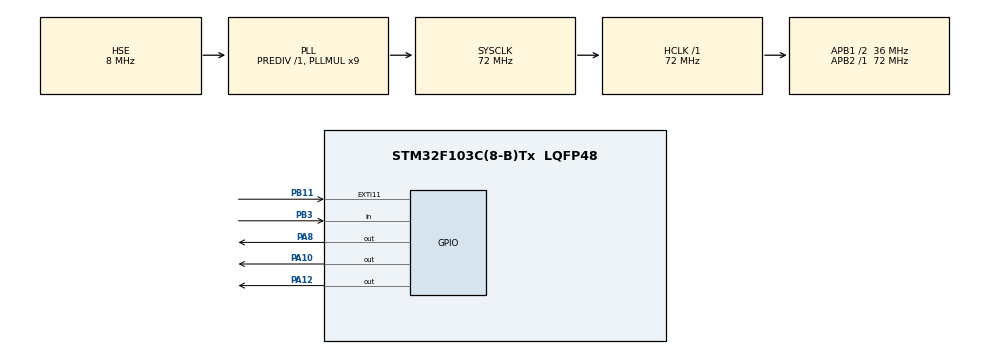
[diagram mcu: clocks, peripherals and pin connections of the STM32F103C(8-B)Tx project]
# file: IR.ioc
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Mcu.Family=STM32F1
Mcu.Name=STM32F103C(8-B)Tx
Mcu.Package=LQFP48
NVIC.EXTI15_10_IRQn=true\:0\:0\:false\:false\:true\:true\:true\:true
NVIC.PriorityGroup=NVIC_PRIORITYGROUP_4
PA10.Signal=GPIO_Output
PA12.Signal=GPIO_Output
PA13.Mode=Serial_Wire
PA13.Signal=SYS_JTMS-SWDIO
PA14.Mode=Serial_Wire
PA14.Signal=SYS_JTCK-SWCLK
PA8.Signal=GPIO_Output
PB11.GPIO_ModeDefaultEXTI=GPIO_MODE_IT_FALLING
PB11.Signal=GPXTI11
PB3.GPIO_PuPd=GPIO_PULLUP
PB3.Signal=GPIO_Input
PD0-OSC_IN.Mode=HSE-External-Oscillator
PD0-OSC_IN.Signal=RCC_OSC_IN
PD1-OSC_OUT.Mode=HSE-External-Oscillator
PD1-OSC_OUT.Signal=RCC_OSC_OUT
ProjectManager.HeapSize=0x200
ProjectManager.StackSize=0x400
ProjectManager.TargetToolchain=STM32CubeIDE
RCC.AHBFreq_Value=72000000
RCC.APB1CLKDivider=RCC_HCLK_DIV2
RCC.APB1Freq_Value=36000000
RCC.APB1TimFreq_Value=72000000
RCC.APB2Freq_Value=72000000
RCC.APB2TimFreq_Value=72000000
RCC.HCLKFreq_Value=72000000
RCC.PLLMUL=RCC_PLL_MUL9
RCC.PLLSourceVirtual=RCC_PLLSOURCE_HSE
RCC.SYSCLKFreq_VALUE=72000000
RCC.SYSCLKSource=RCC_SYSCLKSOURCE_PLLCLK
RCC.USBFreq_Value=72000000
TIM1.Prescaler=71
VP_TIM1_VS_ClockSourceINT.Mode=Internal
board=custom

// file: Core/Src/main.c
/* USER CODE BEGIN Header */
/**
  ******************************************************************************
  * @file           : main.c
  * @brief          : Main program body
  ******************************************************************************
  * @attention
  *
  * Copyright (c) 2023 STMicroelectronics.
  * All rights reserved.
  *
  * This software is licensed under terms that can be found in the LICENSE file
  * in the root directory of this software component.
  * If no LICENSE file comes with this software, it is provided AS-IS.
  *
  ******************************************************************************
  */
/* USER CODE END Header */
#include "main.h"
#include "tim.h"
#include "gpio.h"

/* USER CODE BEGIN PD */

#define LedOnePin			GPIO_PIN_8
#define LedTwoPin			GPIO_PIN_10
#define LedThreePin			GPIO_PIN_12

/* USER CODE END PD */

/* USER CODE BEGIN PV */

uint32_t tempCode;
uint8_t bitIndex;
uint8_t cmd;
uint8_t cmdli;
uint8_t code;

uint8_t LedOneCMD = 0x9d;
uint8_t LedTwoCMD = 0xfd;
uint8_t LedThreeCMD = 0x57;

uint8_t buttonPressed = 0;
uint8_t LedsCounter = 3;
uint8_t state = 1;

void UpdateLeds();
void ReProgrammingFunction();

/* USER CODE END PV */

void SystemClock_Config(void);

/* USER CODE BEGIN 0 */

void HAL_GPIO_EXTI_Callback(uint16_t GPIO_Pin)
{
  if(GPIO_Pin == GPIO_PIN_11)
  {
    if (__HAL_TIM_GET_COUNTER(&htim1) > 8000)
    {
      tempCode = 0;
      bitIndex = 0;
    }
    else if (__HAL_TIM_GET_COUNTER(&htim1) > 1700)
    {
      tempCode |= (1UL << (31-bitIndex));   // write 1
      bitIndex++;
    }
    else if (__HAL_TIM_GET_COUNTER(&htim1) > 1000)
    {
      tempCode &= ~(1UL << (31-bitIndex));  // write 0
      bitIndex++;
    }
    if(bitIndex == 32)
    {
      cmdli = ~tempCode; // Logical inverted last 8 bits
      cmd = tempCode >> 8; // Second last 8 bits
      if(cmdli == cmd) // Check for errors
      {
        code = tempCode; // If no bit errors

        if(buttonPressed)
        	ReProgrammingFunction();
        else
        	UpdateLeds();

        char snum[10];
        itoa(code, snum, 10);
      }
      bitIndex = 0;
    }
    __HAL_TIM_SET_COUNTER(&htim1, 0);
  }
}

/* USER CODE END 0 */

int main(void)
{

  /* MCU Configuration--------------------------------------------------------*/

  /* Reset of all peripherals, Initializes the Flash interface and the Systick. */
  HAL_Init();

  /* Configure the system clock */
  SystemClock_Config();

  /* Initialize all configured peripherals */
  MX_GPIO_Init();
  MX_TIM1_Init();
  /* USER CODE BEGIN 2 */

	HAL_TIM_Base_Start(&htim1);
	__HAL_TIM_SET_COUNTER(&htim1, 0);

  /* USER CODE END 2 */

  /* Infinite loop */
  while (1)
  {

    /* USER CODE BEGIN 3 */
	  state = HAL_GPIO_ReadPin(GPIOB, GPIO_PIN_3);
	  if(!state)
	  {
		  buttonPressed = 1;
	  }
  }
  /* USER CODE END 3 */
}

void SystemClock_Config(void)
{
  RCC_OscInitTypeDef RCC_OscInitStruct = {0};
  RCC_ClkInitTypeDef RCC_ClkInitStruct = {0};

  /** Initializes the RCC Oscillators according to the specified parameters
  * in the RCC_OscInitTypeDef structure.
  */
  RCC_OscInitStruct.OscillatorType = RCC_OSCILLATORTYPE_HSE;
  RCC_OscInitStruct.HSEState = RCC_HSE_ON;
  RCC_OscInitStruct.HSEPredivValue = RCC_HSE_PREDIV_DIV1;
  RCC_OscInitStruct.HSIState = RCC_HSI_ON;
  RCC_OscInitStruct.PLL.PLLState = RCC_PLL_ON;
  RCC_OscInitStruct.PLL.PLLSource = RCC_PLLSOURCE_HSE;
  RCC_OscInitStruct.PLL.PLLMUL = RCC_PLL_MUL9;
  if (HAL_RCC_OscConfig(&RCC_OscInitStruct) != HAL_OK)
  {
    Error_Handler();
  }

  /** Initializes the CPU, AHB and APB buses clocks
  */
  RCC_ClkInitStruct.ClockType = RCC_CLOCKTYPE_HCLK|RCC_CLOCKTYPE_SYSCLK
                              |RCC_CLOCKTYPE_PCLK1|RCC_CLOCKTYPE_PCLK2;
  RCC_ClkInitStruct.SYSCLKSource = RCC_SYSCLKSOURCE_PLLCLK;
  RCC_ClkInitStruct.AHBCLKDivider = RCC_SYSCLK_DIV1;
  RCC_ClkInitStruct.APB1CLKDivider = RCC_HCLK_DIV2;
  RCC_ClkInitStruct.APB2CLKDivider = RCC_HCLK_DIV1;

  if (HAL_RCC_ClockConfig(&RCC_ClkInitStruct, FLASH_LATENCY_2) != HAL_OK)
  {
    Error_Handler();
  }
}

/* USER CODE BEGIN 4 */

void UpdateLeds()
{
	if(LedOneCMD == code)
		HAL_GPIO_TogglePin(GPIOA, LedOnePin);
	else if(LedTwoCMD == code)
		HAL_GPIO_TogglePin(GPIOA, LedTwoPin);
	else if(LedThreeCMD == code)
		HAL_GPIO_TogglePin(GPIOA, LedThreePin);
	else {/* Nothing */}
}

void ReProgrammingFunction()
{
	if(LedsCounter == 3)
	{
		LedOneCMD = code;
		LedsCounter--;
	}
	else if(LedsCounter == 2)
	{
		LedTwoCMD = code;
		LedsCounter--;
	}
	else if(LedsCounter == 1)
	{
		LedThreeCMD = code;
		LedsCounter = 3;
		buttonPressed = 0;
	}
}

/* USER CODE END 4 */

void Error_Handler(void)
{
  __disable_irq();
  while (1)
  {
  }
}
